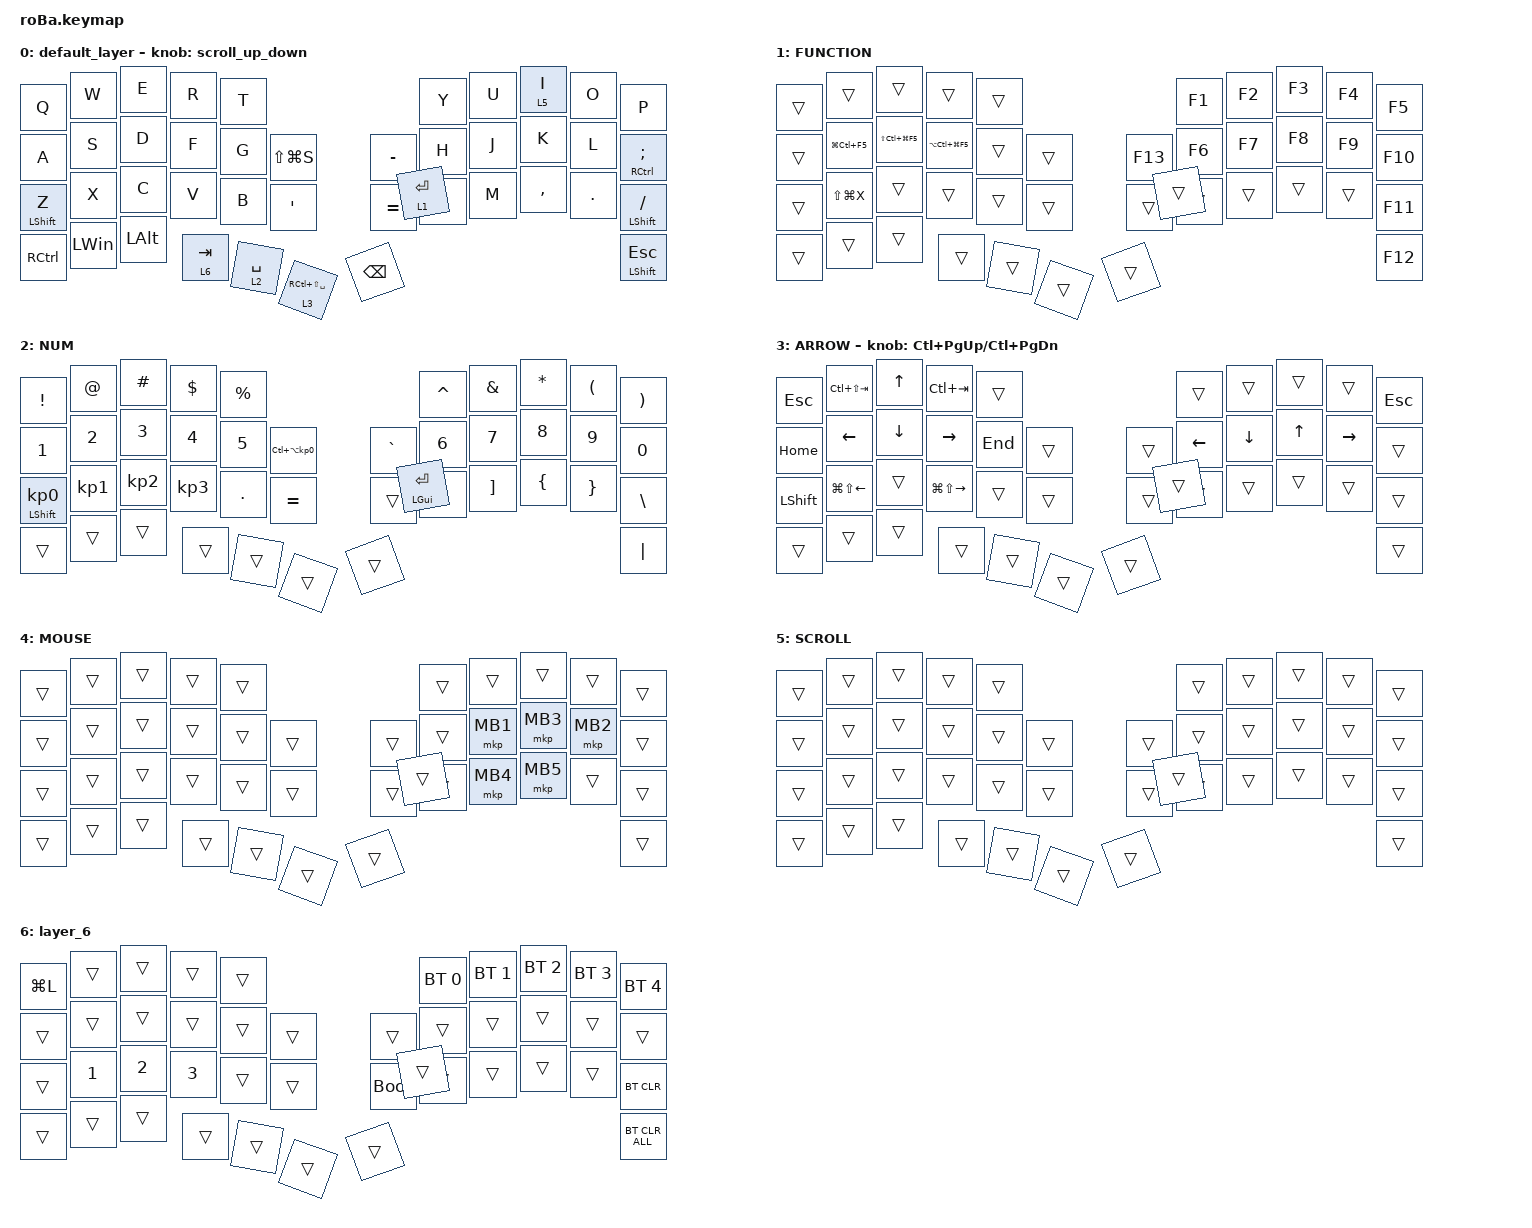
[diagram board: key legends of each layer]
#define ZMK_POINTING_DEFAULT_SCRL_VAL 80
#define ZMK_POINTING_DEFAULT_MOVE_VAL 1500

#include <input/processors.dtsi>
#include <behaviors.dtsi>
#include <dt-bindings/zmk/bt.h>
#include <dt-bindings/zmk/keys.h>
#include <dt-bindings/zmk/pointing.h>

&mt {
    flavor = "balanced";
    quick-tap-ms = <0>;
};

&mkp_input_listener { input-processors = <&zip_temp_layer 4 250>; };

&trackball {
    // automouse-layer = <4>;

    scroll-layers = <5>;

    // arrows {
    //     layers = <3>;
    //     bindings =
    //         <&kp RIGHT_ARROW>,
    //         <&kp LEFT_ARROW>,
    //         <&kp UP_ARROW>,
    //         <&kp DOWN_ARROW>;
    //     tick = <10>;
    //     wait-ms = <5>;
    //     tap-ms = <5>;
    // };
};

/ {
    combos {
        compatible = "zmk,combos";

        tab {
            bindings = <&kp TAB>;
            key-positions = <11 12>;
        };

        shift_tab {
            bindings = <&kp LS(TAB)>;
            key-positions = <12 13>;
        };

        double_quotation {
            bindings = <&kp DOUBLE_QUOTES>;
            key-positions = <20 21>;
        };

        eq {
            bindings = <&kp EQUAL>;
            key-positions = <24 25>;
        };
    };

    macros {
        to_layer_0: to_layer_0 {
            compatible = "zmk,behavior-macro-one-param";
            #binding-cells = <1>;
            bindings = <&to 0 &macro_param_1to1 &kp MACRO_PLACEHOLDER>;
            label = "TO_LAYER_0";
        };

        exit_AML: exit_AML {
            compatible = "zmk,behavior-macro";
            wait-ms = <0>;
            tap-ms = <0>;
            #binding-cells = <0>;
            bindings = <&tog_off 4>;
            label = "exit_AML";
        };

        kp_exit_AML: kp_exit_AML {
            compatible = "zmk,behavior-macro-one-param";
            wait-ms = <0>;
            tap-ms = <0>;
            #binding-cells = <1>;
            bindings = <&macro_param_1to1 &kp MACRO_PLACEHOLDER &exit_AML>;
            label = "KP_exit_AML";
        };
    };

    behaviors {
        lt_to_layer_0: lt_to_layer_0 {
            compatible = "zmk,behavior-hold-tap";
            label = "LAYER_TAP_TO_0";
            bindings = <&mo>, <&to_layer_0>;

            #binding-cells = <2>;
            tapping-term-ms = <200>;
        };

        lt_pi: layer_tap_prior_idle {
            compatible = "zmk,behavior-hold-tap";
            label = "LAYER_TAP_PRIOR_IDLE";
            #binding-cells = <2>;
            flavor = "balanced";
            tapping-term-ms = <200>;
            bindings = <&mo>, <&kp>;

            require-prior-idle-ms = <200>;
        };

        scroll_up_down: behavior_sensor_rotate_mouse_wheel_up_down {
            compatible = "zmk,behavior-sensor-rotate";
            #sensor-binding-cells = <0>;
            bindings = <&msc SCRL_DOWN>, <&msc SCRL_UP>;

            tap-ms = <20>;
        };

        tog_off: toggle_layer_off {
            compatible = "zmk,behavior-toggle-layer";
            #binding-cells = <1>;
            display-name = "Toggle Layer Off";
            toggle-mode = "off";
        };

        mt_exit_AML_on_tap: mt_exit_AML_on_tap {
            compatible = "zmk,behavior-hold-tap";
            label = "MT_exit_AML_ON_TAP";
            bindings = <&kp>, <&kp_exit_AML>;

            #binding-cells = <2>;
            tapping-term-ms = <200>;
            flavor = "balanced";
            quick-tap-ms = <200>;
        };
    };

    keymap {
        compatible = "zmk,keymap";

        default_layer {
            bindings = <
&kp Q                             &kp W         &kp E         &kp R                 &kp T                                                           &kp Y        &kp U  &lt_pi 5 I  &kp O    &kp P
&kp A                             &kp S         &kp D         &kp F                 &kp G        &kp LS(LG(S))                       &kp MINUS      &kp H        &kp J  &kp K       &kp L    &mt_exit_AML_on_tap RCTRL SEMI
&mt_exit_AML_on_tap LEFT_SHIFT Z  &kp X         &kp C         &kp V                 &kp B        &kp SINGLE_QUOTE                    &kp EQUAL      &kp N        &kp M  &kp COMMA   &kp DOT  &mt LEFT_SHIFT SLASH
&kp RCTRL                         &kp LEFT_WIN  &kp LEFT_ALT  &lt_to_layer_0 6 TAB  &lt 2 SPACE  &lt_to_layer_0 3 RC(LS(SPACE))      &kp BACKSPACE  &lt 1 ENTER                              &mt LEFT_SHIFT ESC
            >;

            sensor-bindings = <&scroll_up_down>;
        };

        FUNCTION {
            bindings = <
&trans  &trans          &trans              &trans              &trans                       &kp F1  &kp F2  &kp F3  &kp F4  &kp F5
&trans  &kp LG(LC(F5))  &kp LS(LC(LG(F5)))  &kp LA(LC(LG(F5)))  &trans  &trans      &kp F13  &kp F6  &kp F7  &kp F8  &kp F9  &kp F10
&trans  &kp LS(LG(X))   &trans              &trans              &trans  &trans      &trans   &trans  &trans  &trans  &trans  &kp F11
&trans  &trans          &trans              &trans              &trans  &trans      &trans   &trans                          &kp F12
            >;
        };

        NUM {
            bindings = <
&kp EXCL                    &kp AT           &kp HASH         &kp DOLLAR       &kp PERCENT                                          &kp CARET           &kp AMPS           &kp ASTRK       &kp LEFT_PARENTHESIS  &kp RIGHT_PARENTHESIS
&kp N1                      &kp N2           &kp N3           &kp N4           &kp N5       &kp LC(LA(KP_NUMBER_0))      &kp GRAVE  &kp N6              &kp N7             &kp N8          &kp N9                &kp N0
&mt LEFT_SHIFT KP_NUMBER_0  &kp KP_NUMBER_1  &kp KP_NUMBER_2  &kp KP_NUMBER_3  &kp PERIOD   &kp EQUAL                    &trans     &kp LEFT_BRACKET    &kp RIGHT_BRACKET  &kp LEFT_BRACE  &kp RIGHT_BRACE       &kp BACKSLASH
&trans                      &trans           &trans           &trans           &trans       &trans                       &trans     &mt LEFT_GUI ENTER                                                           &kp PIPE
            >;
        };

        ARROW {
            bindings = <
&kp ESCAPE      &kp LC(LS(TAB))         &kp UP_ARROW    &kp LC(TAB)              &trans                       &trans    &trans    &trans  &trans     &kp ESC
&kp HOME        &kp LEFT_ARROW          &kp DOWN_ARROW  &kp RIGHT_ARROW          &kp END  &trans      &trans  &kp LEFT  &kp DOWN  &kp UP  &kp RIGHT  &trans
&kp LEFT_SHIFT  &kp LG(LS(LEFT_ARROW))  &trans          &kp LG(LS(RIGHT_ARROW))  &trans   &trans      &trans  &trans    &trans    &trans  &trans     &trans
&trans          &trans                  &trans          &trans                   &trans   &trans      &trans  &trans                                 &trans
            >;

            sensor-bindings = <&inc_dec_kp LC(PAGE_UP) LC(PAGE_DOWN)>;
        };

        MOUSE {
            bindings = <
&trans  &trans  &trans  &trans  &trans                      &trans  &trans    &trans    &trans    &trans
&trans  &trans  &trans  &trans  &trans  &trans      &trans  &trans  &mkp MB1  &mkp MB3  &mkp MB2  &trans
&trans  &trans  &trans  &trans  &trans  &trans      &trans  &trans  &mkp MB4  &mkp MB5  &trans    &trans
&trans  &trans  &trans  &trans  &trans  &trans      &trans  &trans                                &trans
            >;
        };

        SCROLL {
            bindings = <
&trans  &trans  &trans  &trans  &trans                      &trans  &trans  &trans  &trans  &trans
&trans  &trans  &trans  &trans  &trans  &trans      &trans  &trans  &trans  &trans  &trans  &trans
&trans  &trans  &trans  &trans  &trans  &trans      &trans  &trans  &trans  &trans  &trans  &trans
&trans  &trans  &trans  &trans  &trans  &trans      &trans  &trans                          &trans
            >;
        };

        layer_6 {
            bindings = <
&kp LG(L)  &trans        &trans        &trans        &trans                           &bt BT_SEL 0  &bt BT_SEL 1  &bt BT_SEL 2  &bt BT_SEL 3  &bt BT_SEL 4
&trans     &trans        &trans        &trans        &trans  &trans      &trans       &trans        &trans        &trans        &trans        &trans
&trans     &kp NUMBER_1  &kp NUMBER_2  &kp NUMBER_3  &trans  &trans      &bootloader  &trans        &trans        &trans        &trans        &bt BT_CLR
&trans     &trans        &trans        &trans        &trans  &trans      &trans       &trans                                                  &bt BT_CLR_ALL
            >;
        };
    };
};
